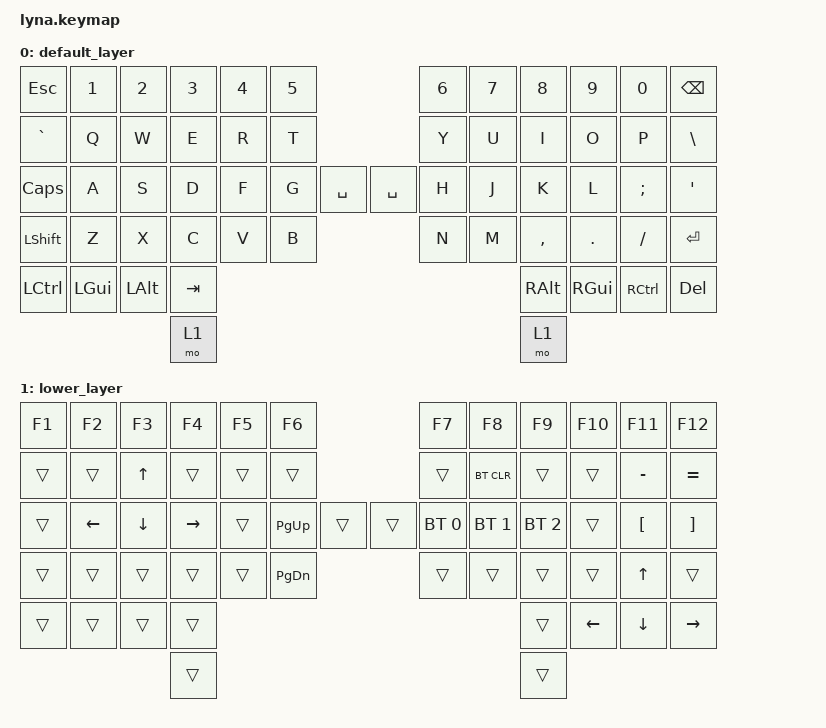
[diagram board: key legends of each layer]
#include <behaviors.dtsi>
#include <dt-bindings/zmk/keys.h>
#include <dt-bindings/zmk/bt.h>
/ {
        keymap {
                compatible = "zmk,keymap";

                default_layer {
// ---------------------------------------------------------------------------------
// |  ESC |  1  |  2  |  3  |  4  |  5  | VOL |            |  6  |  7  |  8  |  9  |  0  | BKSP |
// |   `  |  Q  |  W  |  E  |  R  |  T  |                  |  Y  |  U  |  I  |  O  |  P  |  \   |
// | CAPS |  A  |  S  |  D  |  F  |  G  | SPC |      | SPC |  H  |  J  |  K  |  L  |  ;  |  '   |
// | SHFT |  Z  |  X  |  C  |  V  |  B  |                  |  N  |  M  |  ,  |  .  |  /  | ENTR |
// | CTRL | GUI | ALT | TAB |                                          | ALT | GUI |CTRL | DEL  |
                        bindings = <
   &kp ESC    &kp N1    &kp N2    &kp N3     &kp N4     &kp N5                                  &kp N6     &kp N7  &kp N8     &kp N9    &kp N0     &kp BSPC
   &kp GRAVE  &kp Q     &kp W     &kp E      &kp R      &kp T                                   &kp Y      &kp U   &kp I      &kp O     &kp P      &kp BSLH
   &kp CAPS   &kp A     &kp S     &kp D      &kp F      &kp G    &kp SPACE         &kp SPACE    &kp H      &kp J   &kp K      &kp L     &kp SEMI   &kp APOS
   &kp LSHFT  &kp Z     &kp X     &kp C      &kp V      &kp B                                   &kp N      &kp M   &kp COMMA  &kp DOT   &kp FSLH   &kp RET
   &kp LCTRL  &kp LGUI  &kp LALT  &kp TAB                                                                          &kp RALT   &kp RGUI  &kp RCTRL  &kp DEL
                                  &mo 1                                                                            &mo 1 
                        >;
                };
                lower_layer {
// ------------------------------------------------------------------------------------------------------------
// |  F1   |   F2  |   F3  |   F4  |  F5   |   F6  |                  |   F7  |  F8   |  F9   |  F10  | F11   | F12   |
// |       |       |   UP  |       |       |       |                  |       | BTCLR |       |       |  MINUS| EQUAL |
// |       | LEFT  |  DOWN | RIGHT |       | PG_UP |     |      |     |   BT1 |  BT2  |  BT3  |       |  LBKT | RBKT  |
// |       |       |       |       |       | PG_DN |                  |       |       |       |       |   UP  |       |
// |       |       |       |       |                                                  |       |  LEFT | DOWN  | RIGHT |
                        bindings = <  
   &kp F1    &kp F2     &kp F3     &kp F4     &kp F5     &kp F6                            &kp F7         &kp F8         &kp F9         &kp F10  &kp F11     &kp F12
   &trans    &trans     &kp UP     &trans     &trans     &trans                            &trans         &bt BT_CLR     &trans         &trans   &kp MINUS   &kp EQUAL
   &trans    &kp LEFT   &kp DOWN   &kp RIGHT  &trans     &kp PG_UP   &trans       &trans   &bt BT_SEL 0   &bt BT_SEL 1   &bt BT_SEL 2   &trans   &kp LBKT    &kp RBKT
   &trans    &trans     &trans     &trans     &trans     &kp PG_DN                         &trans         &trans         &trans         &trans   &kp UP      &trans
   &trans    &trans     &trans     &trans                                                                                &trans         &kp LEFT &kp DOWN    &kp RIGHT
                                   &trans                                                                                &trans
                        >;  
                };
                sensor-bindings = <&inc_dec_kp C_VOL_UP C_VOL_DN>;
        };
};


